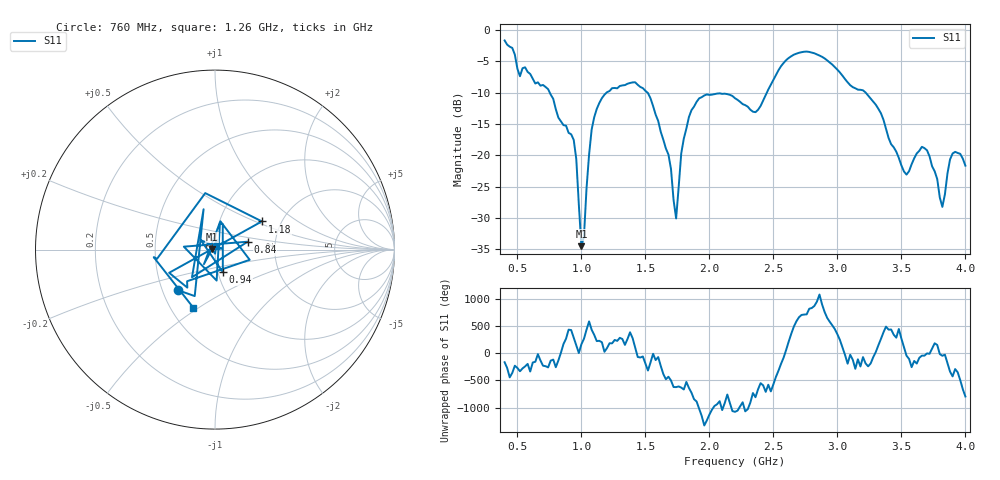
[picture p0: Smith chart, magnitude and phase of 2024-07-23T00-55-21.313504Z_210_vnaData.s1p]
!Created with skrf (http://scikit-rf.org).
# Hz S RI R 50.0
!freq ReS11 ImS11
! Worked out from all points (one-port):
!   181 points, 400 MHz to 4 GHz, reference 50 ohm
!   lowest |S11| = -34.5 dB at 1 GHz (marker M1), VSWR 1.04, Z = 48.2 + j0.33 ohm
!   |S11| at or under -10 dB: 753.3 MHz to 1.196 GHz (442.3 MHz wide, 45.4 % of centre); 1.517 GHz to 2.448 GHz (930.8 MHz wide, 46.9 % of centre); 3.222 GHz to end of sweep
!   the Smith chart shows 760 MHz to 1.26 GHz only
!   S11 on the Smith chart (normalised r, x): 760 MHz: 0.60, -0.30; 840 MHz: 1.44, +0.13; 940 MHz: 1.06, -0.27; 1.18 GHz: 1.59, +0.55; 1.26 GHz: 0.65, -0.48
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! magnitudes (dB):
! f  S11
! 400 MHz  -1.7
! 520 MHz  -7.4
! 760 MHz  -10.3
! 840 MHz  -14.6
! 860 MHz  -15.2
! 940 MHz  -17.5
! 1 GHz  -34.5
! 1.02 GHz  -32.9
! 1.08 GHz  -15.9
! 1.18 GHz  -10.3
! 1.26 GHz  -9.2
! 1.3 GHz  -8.9
! 1.52 GHz  -10.0
! 1.68 GHz  -19.9
! 1.74 GHz  -30.1
! 1.76 GHz  -25.0
! 1.8 GHz  -17.3
! 1.9 GHz  -11.4
! 2.2 GHz  -10.9
! 2.36 GHz  -13.1
! 2.66 GHz  -3.9
! 3.1 GHz  -8.8
! 3.3 GHz  -11.9
! 3.56 GHz  -22.5
! 3.7 GHz  -19.2
! 3.82 GHz  -28.2
! 3.9 GHz  -19.7
! 4 GHz  -21.6
